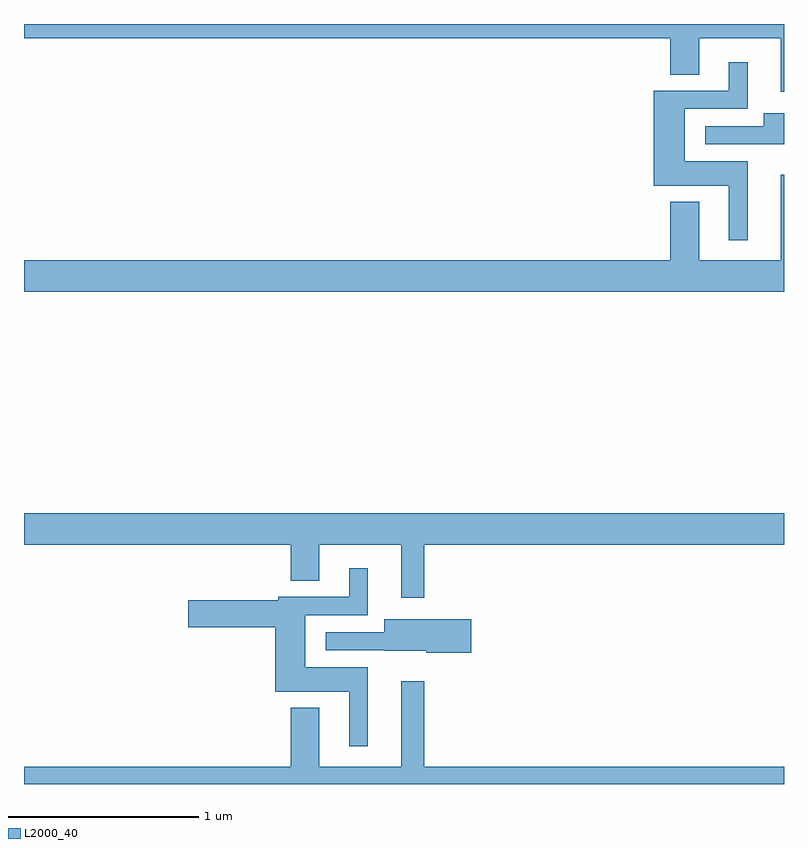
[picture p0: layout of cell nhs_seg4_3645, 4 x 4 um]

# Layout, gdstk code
import gdstk
lib = gdstk.Library(unit=1e-6, precision=1e-09)
def P(c, l, *ps):  # polygons
    for p in ps: c.add(gdstk.Polygon(p, *l))
L2000_40 = (2000, 40)

nhs_seg4_3645 = lib.new_cell('nhs_seg4_3645')
P(nhs_seg4_3645, L2000_40, [(307,792.9),(303,792.9),(303,792.824),(306.401,792.824),(306.401,792.634),(306.553,792.634),(306.553,792.824),(306.983,792.824),(306.983,792.543),(307,792.543)],
  [(306.808,792.178),(306.478,792.178),(306.478,792.453),(306.808,792.453),(306.808,792.7),(306.71,792.7),(306.71,792.549),(306.314,792.549),(306.314,792.05),(306.71,792.05),(306.71,791.763),(306.808,791.763)],
  [(307,792.43),(306.893,792.43),(306.893,792.363),(306.585,792.363),(306.585,792.267),(306.897,792.267),(306.897,792.266),(307,792.266)],
  [(307,792.106),(306.983,792.106),(306.983,791.656),(306.553,791.656),(306.553,791.965),(306.401,791.965),(306.401,791.656),(303,791.656),(303,791.492),(307,791.492)],
  [(305.107,790.16),(307,790.16),(307,790.324),(303,790.324),(303,790.16),(304.403,790.16),(304.403,789.97),(304.555,789.97),(304.555,790.16),(304.985,790.16),(304.985,789.879),(305.107,789.879)],
  [(304.81,789.514),(304.48,789.514),(304.48,789.789),(304.81,789.789),(304.81,790.036),(304.712,790.036),(304.712,789.885),(304.338,789.885),(304.338,789.867),(303.864,789.867),(303.864,789.725),(304.322,789.725),(304.322,789.386),(304.712,789.386),(304.712,789.099),(304.81,789.099)],
  [(305.353,789.768),(304.895,789.768),(304.895,789.699),(304.587,789.699),(304.587,789.603),(304.899,789.603),(304.899,789.602),(305.118,789.602),(305.118,789.59),(305.353,789.59)],
  [(307,788.992),(305.107,788.992),(305.107,789.442),(304.985,789.442),(304.985,788.992),(304.555,788.992),(304.555,789.301),(304.403,789.301),(304.403,788.992),(303,788.992),(303,788.9),(307,788.9)])

lib.write_gds('nhs_seg4_3645.gds')
